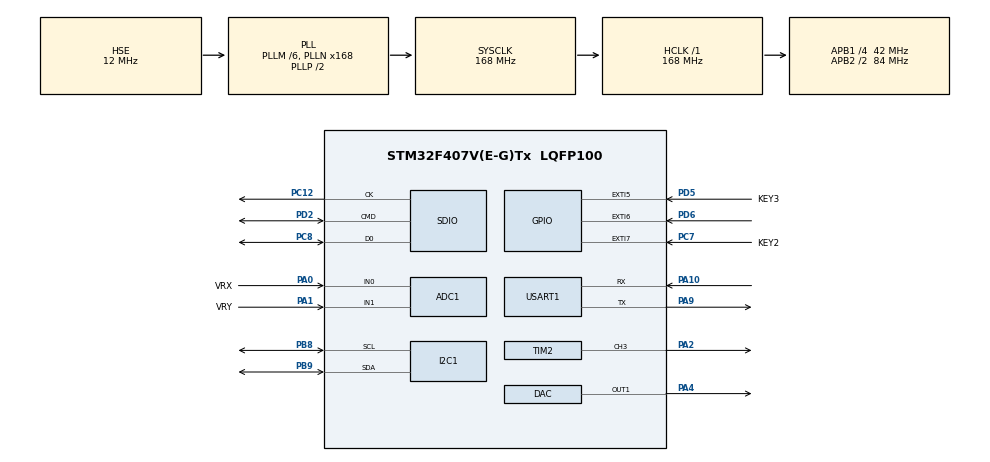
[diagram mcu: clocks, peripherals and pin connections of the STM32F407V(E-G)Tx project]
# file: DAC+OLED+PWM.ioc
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ADC1.Channel-0\#ChannelRegularConversion=ADC_CHANNEL_0
ADC1.NbrOfConversionFlag=1
ADC1.Rank-0\#ChannelRegularConversion=1
ADC1.SamplingTime-0\#ChannelRegularConversion=ADC_SAMPLETIME_3CYCLES
ADC1.ScanConvMode=ENABLE
ADC1.master=1
DAC.DAC_Trigger=DAC_TRIGGER_T6_TRGO
Dma.DAC1.2.Direction=DMA_MEMORY_TO_PERIPH
Dma.DAC1.2.FIFOMode=DMA_FIFOMODE_DISABLE
Dma.DAC1.2.Instance=DMA1_Stream5
Dma.DAC1.2.MemDataAlignment=DMA_MDATAALIGN_HALFWORD
Dma.DAC1.2.MemInc=DMA_MINC_ENABLE
Dma.DAC1.2.Mode=DMA_CIRCULAR
Dma.DAC1.2.PeriphDataAlignment=DMA_PDATAALIGN_HALFWORD
Dma.DAC1.2.PeriphInc=DMA_PINC_DISABLE
Dma.DAC1.2.Priority=DMA_PRIORITY_HIGH
Dma.Request0=SDIO_RX
Dma.Request1=SDIO_TX
Dma.Request2=DAC1
Dma.Request3=USART1_RX
Dma.Request4=USART1_TX
Dma.SDIO_RX.0.Direction=DMA_PERIPH_TO_MEMORY
Dma.SDIO_RX.0.FIFOMode=DMA_FIFOMODE_ENABLE
Dma.SDIO_RX.0.FIFOThreshold=DMA_FIFO_THRESHOLD_FULL
Dma.SDIO_RX.0.Instance=DMA2_Stream3
Dma.SDIO_RX.0.MemBurst=DMA_MBURST_INC4
Dma.SDIO_RX.0.MemDataAlignment=DMA_MDATAALIGN_WORD
Dma.SDIO_RX.0.MemInc=DMA_MINC_ENABLE
Dma.SDIO_RX.0.Mode=DMA_PFCTRL
Dma.SDIO_RX.0.PeriphBurst=DMA_PBURST_INC4
Dma.SDIO_RX.0.PeriphDataAlignment=DMA_PDATAALIGN_WORD
Dma.SDIO_RX.0.PeriphInc=DMA_PINC_DISABLE
Dma.SDIO_RX.0.Priority=DMA_PRIORITY_LOW
Dma.SDIO_TX.1.Direction=DMA_MEMORY_TO_PERIPH
Dma.SDIO_TX.1.FIFOMode=DMA_FIFOMODE_ENABLE
Dma.SDIO_TX.1.FIFOThreshold=DMA_FIFO_THRESHOLD_FULL
Dma.SDIO_TX.1.Instance=DMA2_Stream6
Dma.SDIO_TX.1.MemBurst=DMA_MBURST_INC4
Dma.SDIO_TX.1.MemDataAlignment=DMA_MDATAALIGN_WORD
Dma.SDIO_TX.1.MemInc=DMA_MINC_ENABLE
Dma.SDIO_TX.1.Mode=DMA_PFCTRL
Dma.SDIO_TX.1.PeriphBurst=DMA_PBURST_INC4
Dma.SDIO_TX.1.PeriphDataAlignment=DMA_PDATAALIGN_WORD
Dma.SDIO_TX.1.PeriphInc=DMA_PINC_DISABLE
Dma.SDIO_TX.1.Priority=DMA_PRIORITY_LOW
Dma.USART1_RX.3.Direction=DMA_PERIPH_TO_MEMORY
Dma.USART1_RX.3.FIFOMode=DMA_FIFOMODE_DISABLE
Dma.USART1_RX.3.Instance=DMA2_Stream2
Dma.USART1_RX.3.MemDataAlignment=DMA_MDATAALIGN_WORD
Dma.USART1_RX.3.MemInc=DMA_MINC_ENABLE
Dma.USART1_RX.3.Mode=DMA_NORMAL
Dma.USART1_RX.3.PeriphDataAlignment=DMA_PDATAALIGN_WORD
Dma.USART1_RX.3.PeriphInc=DMA_PINC_DISABLE
Dma.USART1_RX.3.Priority=DMA_PRIORITY_LOW
Dma.USART1_TX.4.Direction=DMA_MEMORY_TO_PERIPH
Dma.USART1_TX.4.FIFOMode=DMA_FIFOMODE_DISABLE
Dma.USART1_TX.4.Instance=DMA2_Stream7
Dma.USART1_TX.4.MemDataAlignment=DMA_MDATAALIGN_WORD
Dma.USART1_TX.4.MemInc=DMA_MINC_ENABLE
Dma.USART1_TX.4.Mode=DMA_NORMAL
Dma.USART1_TX.4.PeriphDataAlignment=DMA_PDATAALIGN_WORD
Dma.USART1_TX.4.PeriphInc=DMA_PINC_DISABLE
Dma.USART1_TX.4.Priority=DMA_PRIORITY_LOW
Mcu.Family=STM32F4
Mcu.Name=STM32F407V(E-G)Tx
Mcu.Package=LQFP100
NVIC.DMA1_Stream5_IRQn=true\:0\:0\:false\:false\:true\:false\:true\:true
NVIC.DMA2_Stream2_IRQn=true\:0\:0\:false\:false\:true\:false\:true\:true
NVIC.DMA2_Stream3_IRQn=true\:0\:0\:false\:false\:true\:false\:true\:true
NVIC.DMA2_Stream6_IRQn=true\:0\:0\:false\:false\:true\:false\:true\:true
NVIC.DMA2_Stream7_IRQn=true\:0\:0\:false\:false\:true\:false\:true\:true
NVIC.EXTI9_5_IRQn=true\:0\:0\:false\:false\:true\:true\:true\:true
NVIC.PriorityGroup=NVIC_PRIORITYGROUP_4
NVIC.TIM3_IRQn=true\:0\:0\:false\:false\:true\:true\:true\:true
NVIC.TIM7_IRQn=true\:0\:0\:false\:false\:true\:true\:true\:true
NVIC.USART1_IRQn=true\:0\:0\:false\:false\:true\:true\:true\:true
PA0-WKUP.GPIO_Label=VRX
PA0-WKUP.Signal=ADCx_IN0
PA1.GPIO_Label=VRY
PA1.Signal=ADCx_IN1
PA10.Mode=Asynchronous
PA10.Signal=USART1_RX
PA13.Mode=Serial_Wire
PA13.Signal=SYS_JTMS-SWDIO
PA14.Mode=Serial_Wire
PA14.Signal=SYS_JTCK-SWCLK
PA2.GPIO_ModeDefaultPP=GPIO_MODE_AF_OD
PA2.Signal=S_TIM2_CH3
PA4.Signal=COMP_DAC1_group
PA9.Mode=Asynchronous
PA9.Signal=USART1_TX
PB8.Mode=I2C
PB8.Signal=I2C1_SCL
PB9.Mode=I2C
PB9.Signal=I2C1_SDA
PC12.Mode=SD_1_bit
PC12.Signal=SDIO_CK
PC14-OSC32_IN.Mode=LSE-External-Oscillator
PC14-OSC32_IN.Signal=RCC_OSC32_IN
PC15-OSC32_OUT.Mode=LSE-External-Oscillator
PC15-OSC32_OUT.Signal=RCC_OSC32_OUT
PC7.GPIO_Label=KEY2
PC7.GPIO_ModeDefaultEXTI=GPIO_MODE_IT_FALLING
PC7.GPIO_PuPd=GPIO_PULLUP
PC7.Signal=GPXTI7
PC8.Mode=SD_1_bit
PC8.Signal=SDIO_D0
PD2.Mode=SD_1_bit
PD2.Signal=SDIO_CMD
PD5.GPIO_Label=KEY3
PD5.GPIO_PuPd=GPIO_PULLUP
PD5.Signal=GPXTI5
PD6.GPIO_ModeDefaultEXTI=GPIO_MODE_IT_FALLING
PD6.GPIO_PuPd=GPIO_PULLUP
PD6.Signal=GPXTI6
PH0-OSC_IN.Mode=HSE-External-Oscillator
PH0-OSC_IN.Signal=RCC_OSC_IN
PH1-OSC_OUT.Mode=HSE-External-Oscillator
PH1-OSC_OUT.Signal=RCC_OSC_OUT
ProjectManager.HeapSize=0x200
ProjectManager.StackSize=0x4000
ProjectManager.TargetToolchain=CMake
RCC.48MHZClocksFreq_Value=48000000
RCC.AHBFreq_Value=168000000
RCC.APB1CLKDivider=RCC_HCLK_DIV4
RCC.APB1Freq_Value=42000000
RCC.APB1TimFreq_Value=84000000
RCC.APB2CLKDivider=RCC_HCLK_DIV2
RCC.APB2Freq_Value=84000000
RCC.APB2TimFreq_Value=168000000
RCC.CortexFreq_Value=168000000
RCC.HCLKFreq_Value=168000000
RCC.HSE_VALUE=12000000
RCC.HSI_VALUE=16000000
RCC.PLLM=6
RCC.PLLN=168
RCC.PLLQ=7
RCC.PLLSourceVirtual=RCC_PLLSOURCE_HSE
RCC.SYSCLKFreq_VALUE=168000000
RCC.SYSCLKSource=RCC_SYSCLKSOURCE_PLLCLK
RCC.VCOOutputFreq_Value=336000000
SH.ADCx_IN0.0=ADC1_IN0,IN0
SH.ADCx_IN1.0=ADC1_IN1,IN1
SH.COMP_DAC1_group.0=DAC_OUT1,DAC_OUT1
SH.S_TIM2_CH3.0=TIM2_CH3,PWM Generation3 CH3
TIM2.Channel-PWM\ Generation3\ CH3=TIM_CHANNEL_3
TIM2.Period=2000-1
TIM2.Prescaler=21-1
TIM2.Pulse-PWM\ Generation3\ CH3=1800
TIM3.Period=100-1
TIM3.Prescaler=84-1
TIM6.Period=125-1
TIM6.Prescaler=21-1
TIM6.TIM_MasterOutputTrigger=TIM_TRGO_UPDATE
TIM7.Period=500-1
TIM7.Prescaler=8400-1
USART1.VirtualMode=VM_ASYNC
VP_FATFS_VS_SDIO.Mode=SDIO
VP_TIM2_VS_ClockSourceINT.Mode=Internal
VP_TIM3_VS_ClockSourceINT.Mode=Internal
VP_TIM6_VS_ClockSourceINT.Mode=Enable_Timer
VP_TIM7_VS_ClockSourceINT.Mode=Enable_Timer
board=custom

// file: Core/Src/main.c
/* USER CODE BEGIN Header */
/**
  ******************************************************************************
  * @file           : main.c
  * @brief          : Main program body
  ******************************************************************************
  * @attention
  *
  * Copyright (c) 2026 STMicroelectronics.
  * All rights reserved.
  *
  * This software is licensed under terms that can be found in the LICENSE file
  * in the root directory of this software component.
  * If no LICENSE file comes with this software, it is provided AS-IS.
  *
  ******************************************************************************
  */
/* USER CODE END Header */
#include "main.h"
#include "adc.h"
#include "dac.h"
#include "dma.h"
#include "fatfs.h"
#include "i2c.h"
#include "sdio.h"
#include "tim.h"
#include "usart.h"
#include "gpio.h"

/* USER CODE BEGIN Includes */
#include "app_state.h"
#include "ui_menu.h"
#include "ui_input.h"
#include "motor_control.h"
#include "audio_control.h"
#include "ble_handler.h"
#include "oled.h"
#include "font.h"
#include "audio_player.h"
/* USER CODE END Includes */

void SystemClock_Config(void);

int main(void)
{

  /* MCU Configuration--------------------------------------------------------*/

  /* Reset of all peripherals, Initializes the Flash interface and the Systick. */
   HAL_Init();

  /* Configure the system clock */
  SystemClock_Config();

  /* Initialize all configured peripherals */
  MX_GPIO_Init();
  MX_DMA_Init();
  MX_DAC_Init();
  MX_SDIO_SD_Init();
  MX_TIM6_Init();
  MX_FATFS_Init();
  MX_I2C1_Init();
  MX_TIM2_Init();
  MX_ADC1_Init();
  MX_TIM7_Init();
  MX_TIM3_Init();
  MX_USART1_UART_Init();
  /* USER CODE BEGIN 2 */

  // 音频系统初始化
  AudioControl_Init();
  HAL_Delay(100);
  // OLED初始化并显示主菜单
  OLED_Init();
  DrawMainMenu(main_selected);
  // 电机初始化（PWM启动 + TIM7测速中断）
  MotorControl_Init();
  // 蓝牙中断接收启动
  BLE_Init();
  // 进入AT指令模式并配置为主机模式
  HAL_Delay(500);
  HAL_UART_Transmit(&huart1, (uint8_t *)"+++", 3, 100);
  HAL_Delay(500);
  HAL_UART_Transmit(&huart1, (uint8_t *)"AT+ROLE=1", 9, 500);

  /* USER CODE END 2 */

  /* Infinite loop */
  while (1)
  {

    /* USER CODE BEGIN 3 */

    // 音频缓冲填充
    AudioControl_Poll();

    // KEY2状态读取
    uint8_t key2_now = Input_ReadKey2();

    // OLED定时刷新（100ms间隔，根据menu_state绘制对应界面）
    DisplayRefresh();

    // 蓝牙接收处理（行解析、STATUS解析、LOAD超时）
    BLE_ProcessReceive();

    // 电机占空比渐变
    MotorControl_ProcessRamp();

    // 摇杆ADC读取 + 方向检测
    {
      ADC_ChannelConfTypeDef sConfig = {0};
      sConfig.Rank = 1; sConfig.SamplingTime = ADC_SAMPLETIME_3CYCLES;
      sConfig.Channel = ADC_CHANNEL_0;
      HAL_ADC_ConfigChannel(&hadc1, &sConfig);
      HAL_ADC_Start(&hadc1); HAL_ADC_PollForConversion(&hadc1, 10); adc_x_raw = HAL_ADC_GetValue(&hadc1);
      sConfig.Channel = ADC_CHANNEL_1;
      HAL_ADC_ConfigChannel(&hadc1, &sConfig);
      HAL_ADC_Start(&hadc1); HAL_ADC_PollForConversion(&hadc1, 10); adc_y_raw = HAL_ADC_GetValue(&hadc1);

      joy_up   = (adc_y_raw < 500)  ? 1 : 0;
      joy_down = (adc_y_raw > 3500) ? 1 : 0;
      joy_left  = (adc_x_raw < 500)  ? 1 : 0;
      joy_right = (adc_x_raw > 3500) ? 1 : 0;
      joy_btn   = (HAL_GPIO_ReadPin(KEY3_GPIO_Port, KEY3_Pin) == GPIO_PIN_RESET) ? 0 : 1;
    }

    // 死区检测（摇杆归中）
    Input_ProcessDeadZone();

    // 画笔模式方向发送（COLOR=JK, DRAW=JL/JR/JU/JD, 20ms间隔）
    Input_ProcessBrushDirection();

    // 贪吃蛇方向发送（JL/JR/JU/JD, 100ms间隔）
    Input_ProcessSnakeDirection();

    // 非画笔模式方向导航（菜单切换、参数调节）
    Input_ProcessNavigation();

    // 摇杆按钮处理（短按确认/进入，长按800ms返回）
    Input_ProcessJoyButton();

    // KEY2处理（电机微调、甜甜圈切色、画笔落笔/返回）
    Input_ProcessKey2(key2_now);

  }
  /* USER CODE END 3 */
}

void SystemClock_Config(void)
{
  RCC_OscInitTypeDef RCC_OscInitStruct = {0};
  RCC_ClkInitTypeDef RCC_ClkInitStruct = {0};

  /** Configure the main internal regulator output voltage
  */
  __HAL_RCC_PWR_CLK_ENABLE();
  __HAL_PWR_VOLTAGESCALING_CONFIG(PWR_REGULATOR_VOLTAGE_SCALE1);

  /** Initializes the RCC Oscillators according to the specified parameters
  * in the RCC_OscInitTypeDef structure.
  */
  RCC_OscInitStruct.OscillatorType = RCC_OSCILLATORTYPE_HSE;
  RCC_OscInitStruct.HSEState = RCC_HSE_ON;
  RCC_OscInitStruct.PLL.PLLState = RCC_PLL_ON;
  RCC_OscInitStruct.PLL.PLLSource = RCC_PLLSOURCE_HSE;
  RCC_OscInitStruct.PLL.PLLM = 6;
  RCC_OscInitStruct.PLL.PLLN = 168;
  RCC_OscInitStruct.PLL.PLLP = RCC_PLLP_DIV2;
  RCC_OscInitStruct.PLL.PLLQ = 7;
  if (HAL_RCC_OscConfig(&RCC_OscInitStruct) != HAL_OK)
  {
    Error_Handler();
  }

  /** Initializes the CPU, AHB and APB buses clocks
  */
  RCC_ClkInitStruct.ClockType = RCC_CLOCKTYPE_HCLK|RCC_CLOCKTYPE_SYSCLK
                              |RCC_CLOCKTYPE_PCLK1|RCC_CLOCKTYPE_PCLK2;
  RCC_ClkInitStruct.SYSCLKSource = RCC_SYSCLKSOURCE_PLLCLK;
  RCC_ClkInitStruct.AHBCLKDivider = RCC_SYSCLK_DIV1;
  RCC_ClkInitStruct.APB1CLKDivider = RCC_HCLK_DIV4;
  RCC_ClkInitStruct.APB2CLKDivider = RCC_HCLK_DIV2;

  if (HAL_RCC_ClockConfig(&RCC_ClkInitStruct, FLASH_LATENCY_5) != HAL_OK)
  {
    Error_Handler();
  }
}

/* USER CODE BEGIN 4 */
// 霍尔传感器PD6 EXTI回调 → 电机测速
void HAL_GPIO_EXTI_Callback(uint16_t GPIO_Pin)
{
    MotorControl_HallCallback(GPIO_Pin);
}

// 蓝牙USART1接收回调 → 环形缓冲
void HAL_UART_RxCpltCallback(UART_HandleTypeDef *huart)
{
    BLE_UartRxCallback(huart);
}
/* USER CODE END 4 */

void Error_Handler(void)
{
  __disable_irq();
  while (1)
  {
  }
}
